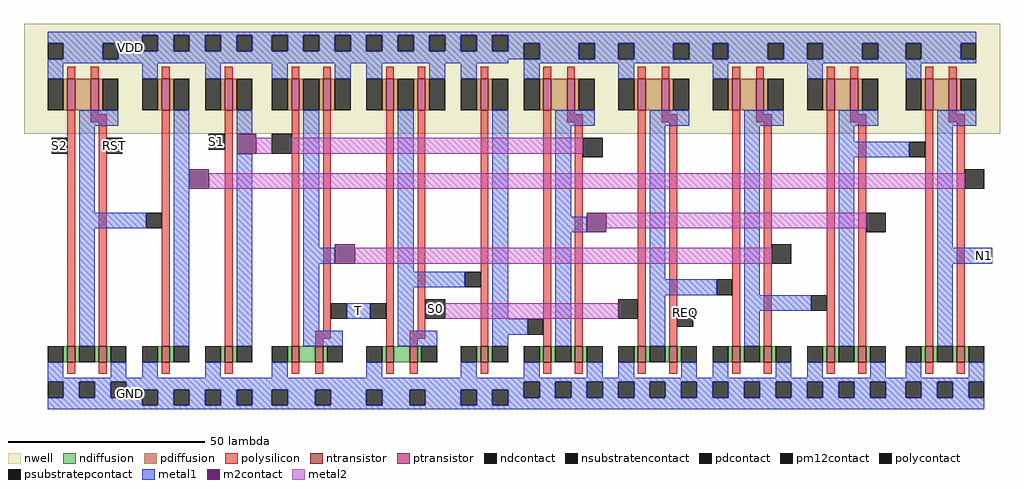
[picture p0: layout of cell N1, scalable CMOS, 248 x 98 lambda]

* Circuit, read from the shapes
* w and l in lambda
.subckt N1 GND REQ RST S0 S1 S2 T VDD
M1 n1 S2 GND GND nfet w=4 l=2
M2 GND RST n1 GND nfet w=4 l=2
M3 n2 n1 GND GND nfet w=4 l=2
M4 n3 S1 GND GND nfet w=4 l=2
M5 n4 n3 GND GND nfet w=4 l=2
M6 n5 T n4 GND nfet w=4 l=2
M7 n6 T GND GND nfet w=4 l=2
M8 n7 S0 n6 GND nfet w=4 l=2
M9 n8 n7 GND GND nfet w=4 l=2
M10 n9 n8 GND GND nfet w=4 l=2
M11 GND n3 n9 GND nfet w=4 l=2
M12 n10 S0 GND GND nfet w=4 l=2
M13 GND REQ n10 GND nfet w=4 l=2
M14 n11 n10 GND GND nfet w=4 l=2
M15 GND n5 n11 GND nfet w=4 l=2
M16 n12 n11 GND GND nfet w=4 l=2
M17 GND n9 n12 GND nfet w=4 l=2
M18 n13 n12 GND GND nfet w=4 l=2
M19 GND n2 n13 GND nfet w=4 l=2
M20 n14 S2 VDD VDD pfet w=8 l=2
M21 n1 RST n14 VDD pfet w=8 l=2
M22 n2 n1 VDD VDD pfet w=8 l=2
M23 n3 S1 VDD VDD pfet w=8 l=2
M24 n5 n3 VDD VDD pfet w=8 l=2
M25 VDD T n5 VDD pfet w=8 l=2
M26 n7 T VDD VDD pfet w=8 l=2
M27 VDD S0 n7 VDD pfet w=8 l=2
M28 n8 n7 VDD VDD pfet w=8 l=2
M29 n15 n8 VDD VDD pfet w=8 l=2
M30 n9 n3 n15 VDD pfet w=8 l=2
M31 n16 S0 VDD VDD pfet w=8 l=2
M32 n10 REQ n16 VDD pfet w=8 l=2
M33 n17 n10 VDD VDD pfet w=8 l=2
M34 n11 n5 n17 VDD pfet w=8 l=2
M35 n18 n11 VDD VDD pfet w=8 l=2
M36 n12 n9 n18 VDD pfet w=8 l=2
M37 n19 n12 VDD VDD pfet w=8 l=2
M38 n13 n2 n19 VDD pfet w=8 l=2
.ends

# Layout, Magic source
magic
tech scmos
<< nwell >>
rect -55 53 193 81
<< ntransistor >>
rect -44 -5 -42 -1
rect -36 -5 -34 -1
rect -20 -5 -18 -1
rect -4 -5 -2 -1
rect 13 -5 15 -1
rect 19 -5 21 -1
rect 37 -5 39 -1
rect 43 -5 45 -1
rect 61 -5 63 -1
rect 77 -5 79 -1
rect 85 -5 87 -1
rect 101 -5 103 -1
rect 109 -5 111 -1
rect 125 -5 127 -1
rect 133 -5 135 -1
rect 149 -5 151 -1
rect 157 -5 159 -1
rect 174 -5 176 -1
rect 182 -5 184 -1
<< ptransistor >>
rect -44 59 -42 67
rect -38 59 -36 67
rect -20 59 -18 67
rect -4 59 -2 67
rect 13 59 15 67
rect 21 59 23 67
rect 37 59 39 67
rect 45 59 47 67
rect 61 59 63 67
rect 77 59 79 67
rect 83 59 85 67
rect 101 59 103 67
rect 107 59 109 67
rect 125 59 127 67
rect 131 59 133 67
rect 149 59 151 67
rect 155 59 157 67
rect 174 59 176 67
rect 180 59 182 67
<< ndiffusion >>
rect -45 -5 -44 -1
rect -42 -5 -41 -1
rect -37 -5 -36 -1
rect -34 -5 -33 -1
rect -21 -5 -20 -1
rect -18 -5 -17 -1
rect -5 -5 -4 -1
rect -2 -5 -1 -1
rect 12 -5 13 -1
rect 15 -5 19 -1
rect 21 -5 22 -1
rect 36 -5 37 -1
rect 39 -5 43 -1
rect 45 -5 46 -1
rect 60 -5 61 -1
rect 63 -5 64 -1
rect 76 -5 77 -1
rect 79 -5 80 -1
rect 84 -5 85 -1
rect 87 -5 88 -1
rect 100 -5 101 -1
rect 103 -5 104 -1
rect 108 -5 109 -1
rect 111 -5 112 -1
rect 124 -5 125 -1
rect 127 -5 128 -1
rect 132 -5 133 -1
rect 135 -5 136 -1
rect 148 -5 149 -1
rect 151 -5 152 -1
rect 156 -5 157 -1
rect 159 -5 160 -1
rect 173 -5 174 -1
rect 176 -5 177 -1
rect 181 -5 182 -1
rect 184 -5 185 -1
<< pdiffusion >>
rect -45 59 -44 67
rect -42 59 -38 67
rect -36 59 -35 67
rect -21 59 -20 67
rect -18 59 -17 67
rect -5 59 -4 67
rect -2 59 -1 67
rect 12 59 13 67
rect 15 59 16 67
rect 20 59 21 67
rect 23 59 24 67
rect 36 59 37 67
rect 39 59 40 67
rect 44 59 45 67
rect 47 59 48 67
rect 60 59 61 67
rect 63 59 64 67
rect 76 59 77 67
rect 79 59 83 67
rect 85 59 86 67
rect 100 59 101 67
rect 103 59 107 67
rect 109 59 110 67
rect 124 59 125 67
rect 127 59 131 67
rect 133 59 134 67
rect 148 59 149 67
rect 151 59 155 67
rect 157 59 158 67
rect 173 59 174 67
rect 176 59 180 67
rect 182 59 183 67
<< ndcontact >>
rect -49 -5 -45 -1
rect -41 -5 -37 -1
rect -33 -5 -29 -1
rect -25 -5 -21 -1
rect -17 -5 -13 -1
rect -9 -5 -5 -1
rect -1 -5 3 -1
rect 8 -5 12 -1
rect 22 -5 26 -1
rect 32 -5 36 -1
rect 46 -5 50 -1
rect 56 -5 60 -1
rect 64 -5 68 -1
rect 72 -5 76 -1
rect 80 -5 84 -1
rect 88 -5 92 -1
rect 96 -5 100 -1
rect 104 -5 108 -1
rect 112 -5 116 -1
rect 120 -5 124 -1
rect 128 -5 132 -1
rect 136 -5 140 -1
rect 144 -5 148 -1
rect 152 -5 156 -1
rect 160 -5 164 -1
rect 169 -5 173 -1
rect 177 -5 181 -1
rect 185 -5 189 -1
<< pdcontact >>
rect -49 59 -45 67
rect -35 59 -31 67
rect -25 59 -21 67
rect -17 59 -13 67
rect -9 59 -5 67
rect -1 59 3 67
rect 8 59 12 67
rect 16 59 20 67
rect 24 59 28 67
rect 32 59 36 67
rect 40 59 44 67
rect 48 59 52 67
rect 56 59 60 67
rect 64 59 68 67
rect 72 59 76 67
rect 86 59 90 67
rect 96 59 100 67
rect 110 59 114 67
rect 120 59 124 67
rect 134 59 138 67
rect 144 59 148 67
rect 158 59 162 67
rect 169 59 173 67
rect 183 59 187 67
<< psubstratepcontact >>
rect -49 -14 -45 -10
rect -41 -14 -37 -10
rect -33 -14 -29 -10
rect -25 -16 -21 -12
rect -17 -16 -13 -12
rect -9 -16 -5 -12
rect -1 -16 3 -12
rect 8 -16 12 -12
rect 19 -16 23 -12
rect 32 -16 36 -12
rect 43 -16 47 -12
rect 56 -16 60 -12
rect 64 -16 68 -12
rect 72 -14 76 -10
rect 80 -14 84 -10
rect 88 -14 92 -10
rect 96 -14 100 -10
rect 104 -14 108 -10
rect 112 -14 116 -10
rect 120 -14 124 -10
rect 128 -14 132 -10
rect 136 -14 140 -10
rect 144 -14 148 -10
rect 152 -14 156 -10
rect 160 -14 164 -10
rect 169 -14 173 -10
rect 177 -14 181 -10
rect 185 -14 189 -10
<< nsubstratencontact >>
rect -49 72 -45 76
rect -35 72 -31 76
rect -25 74 -21 78
rect -17 74 -13 78
rect -9 74 -5 78
rect -1 74 3 78
rect 8 74 12 78
rect 16 74 20 78
rect 24 74 28 78
rect 32 74 36 78
rect 40 74 44 78
rect 48 74 52 78
rect 56 74 60 78
rect 64 74 68 78
rect 72 72 76 76
rect 86 72 90 76
rect 96 72 100 76
rect 110 72 114 76
rect 120 72 124 76
rect 134 72 138 76
rect 144 72 148 76
rect 158 72 162 76
rect 169 72 173 76
rect 183 72 187 76
<< polysilicon >>
rect -44 67 -42 70
rect -38 67 -36 70
rect -20 67 -18 70
rect -4 67 -2 70
rect 13 67 15 70
rect 21 67 23 70
rect 37 67 39 70
rect 45 67 47 70
rect 61 67 63 70
rect 77 67 79 70
rect 83 67 85 70
rect 101 67 103 70
rect 107 67 109 70
rect 125 67 127 70
rect 131 67 133 70
rect 149 67 151 70
rect 155 67 157 70
rect 174 67 176 70
rect 180 67 182 70
rect -44 -1 -42 59
rect -38 58 -36 59
rect -38 56 -34 58
rect -36 -1 -34 56
rect -20 -1 -18 59
rect -4 -1 -2 59
rect 13 -1 15 59
rect 21 3 23 59
rect 19 1 23 3
rect 19 -1 21 1
rect 37 -1 39 59
rect 45 3 47 59
rect 43 1 47 3
rect 43 -1 45 1
rect 61 -1 63 59
rect 77 -1 79 59
rect 83 58 85 59
rect 83 56 87 58
rect 85 -1 87 56
rect 101 -1 103 59
rect 107 58 109 59
rect 107 56 111 58
rect 109 -1 111 56
rect 125 -1 127 59
rect 131 58 133 59
rect 131 56 135 58
rect 133 -1 135 56
rect 149 -1 151 59
rect 155 58 157 59
rect 155 56 159 58
rect 157 -1 159 56
rect 174 -1 176 59
rect 180 58 182 59
rect 180 56 184 58
rect 182 -1 184 56
rect -44 -8 -42 -5
rect -36 -8 -34 -5
rect -20 -8 -18 -5
rect -4 -8 -2 -5
rect 13 -8 15 -5
rect 19 -8 21 -5
rect 37 -8 39 -5
rect 43 -8 45 -5
rect 61 -8 63 -5
rect 77 -8 79 -5
rect 85 -8 87 -5
rect 101 -8 103 -5
rect 109 -8 111 -5
rect 125 -8 127 -5
rect 133 -8 135 -5
rect 149 -8 151 -5
rect 157 -8 159 -5
rect 174 -8 176 -5
rect 182 -8 184 -5
<< polycontact >>
rect -48 48 -44 52
rect -34 48 -30 52
rect -24 29 -20 33
rect -8 49 -4 53
rect 23 6 27 10
rect 33 6 37 10
rect 57 14 61 18
rect 73 2 77 6
rect 121 12 125 16
rect 111 4 115 8
rect 145 8 149 12
rect 170 47 174 51
<< metal1 >>
rect -49 78 187 79
rect -49 76 -25 78
rect -45 72 -35 76
rect -31 74 -25 76
rect -21 74 -17 78
rect -13 74 -9 78
rect -5 74 -1 78
rect 3 74 8 78
rect 12 74 16 78
rect 20 74 24 78
rect 28 74 32 78
rect 36 74 40 78
rect 44 74 48 78
rect 52 74 56 78
rect 60 74 64 78
rect 68 76 187 78
rect 68 74 72 76
rect -31 72 72 74
rect 76 72 86 76
rect 90 72 96 76
rect 100 72 110 76
rect 114 72 120 76
rect 124 72 134 76
rect 138 72 144 76
rect 148 72 158 76
rect 162 72 169 76
rect 173 72 183 76
rect -49 71 68 72
rect 72 71 187 72
rect -49 67 -45 71
rect -25 67 -21 71
rect -9 67 -5 71
rect 8 67 12 71
rect 24 67 28 71
rect 32 67 36 71
rect 48 67 52 71
rect 56 67 60 71
rect 72 67 76 71
rect 96 67 100 71
rect 120 67 124 71
rect 144 67 148 71
rect 169 67 173 71
rect -41 55 -31 59
rect -41 33 -37 55
rect -41 29 -24 33
rect -41 -1 -37 29
rect -17 -1 -13 59
rect -1 53 3 59
rect -1 -1 3 48
rect 16 24 20 59
rect 16 20 24 24
rect 16 3 20 20
rect 40 18 44 59
rect 40 14 57 18
rect 27 6 33 10
rect 40 3 44 14
rect 64 6 68 59
rect 80 55 90 59
rect 104 55 114 59
rect 128 55 138 59
rect 152 55 162 59
rect 177 55 187 59
rect 80 32 84 55
rect 80 28 88 32
rect 16 -1 26 3
rect 40 -1 50 3
rect 64 2 73 6
rect 64 -1 68 2
rect 80 -1 84 28
rect 104 16 108 55
rect 104 12 121 16
rect 128 12 132 55
rect 152 51 156 55
rect 152 47 170 51
rect 104 -1 108 12
rect 128 8 145 12
rect 128 -1 132 8
rect 152 -1 156 47
rect 177 24 181 55
rect 177 20 191 24
rect 177 -1 181 20
rect -49 -9 -45 -5
rect -33 -9 -29 -5
rect -25 -9 -21 -5
rect -9 -9 -5 -5
rect 8 -9 12 -5
rect 32 -9 36 -5
rect 56 -9 60 -5
rect 72 -9 76 -5
rect 88 -9 92 -5
rect 96 -9 100 -5
rect 112 -9 116 -5
rect 120 -9 124 -5
rect 136 -9 140 -5
rect 144 -9 148 -5
rect 160 -9 164 -5
rect 169 -9 173 -5
rect 185 -9 189 -5
rect -49 -10 189 -9
rect -45 -14 -41 -10
rect -37 -14 -33 -10
rect -29 -12 72 -10
rect -29 -14 -25 -12
rect -49 -16 -25 -14
rect -21 -16 -17 -12
rect -13 -16 -9 -12
rect -5 -16 -1 -12
rect 3 -16 8 -12
rect 12 -16 19 -12
rect 23 -16 32 -12
rect 36 -16 43 -12
rect 47 -16 56 -12
rect 60 -16 64 -12
rect 68 -14 72 -12
rect 76 -14 80 -10
rect 84 -14 88 -10
rect 92 -14 96 -10
rect 100 -14 104 -10
rect 108 -14 112 -10
rect 116 -14 120 -10
rect 124 -14 128 -10
rect 132 -14 136 -10
rect 140 -14 144 -10
rect 148 -14 152 -10
rect 156 -14 160 -10
rect 164 -14 169 -10
rect 173 -14 177 -10
rect 181 -14 185 -10
rect 68 -16 189 -14
rect -49 -17 189 -16
<< m2contact >>
rect -1 48 4 53
rect -13 39 -8 44
rect 24 20 29 25
rect 88 28 93 33
<< pm12contact >>
rect 8 48 13 53
rect 47 6 52 11
rect 87 47 92 52
rect 135 20 140 25
rect 96 6 101 11
rect 159 28 164 33
rect 184 39 189 44
<< metal2 >>
rect 4 48 8 52
rect 13 48 87 52
rect -8 39 184 43
rect 93 29 159 33
rect 29 20 135 24
rect 52 6 96 10
<< labels >>
rlabel polycontact -48 48 -44 52 1 S2
rlabel polycontact -34 48 -30 52 1 RST
rlabel polycontact -8 49 -4 53 1 S1
rlabel metal1 23 6 37 10 1 T
rlabel pm12contact 47 6 52 11 1 S0
rlabel polycontact 111 7 115 8 1 REQ
rlabel metal1 187 20 191 24 7 N1
rlabel metal1 -28 71 -28 79 1 VDD
rlabel metal1 -28 -17 -28 -9 1 GND
<< end >>
